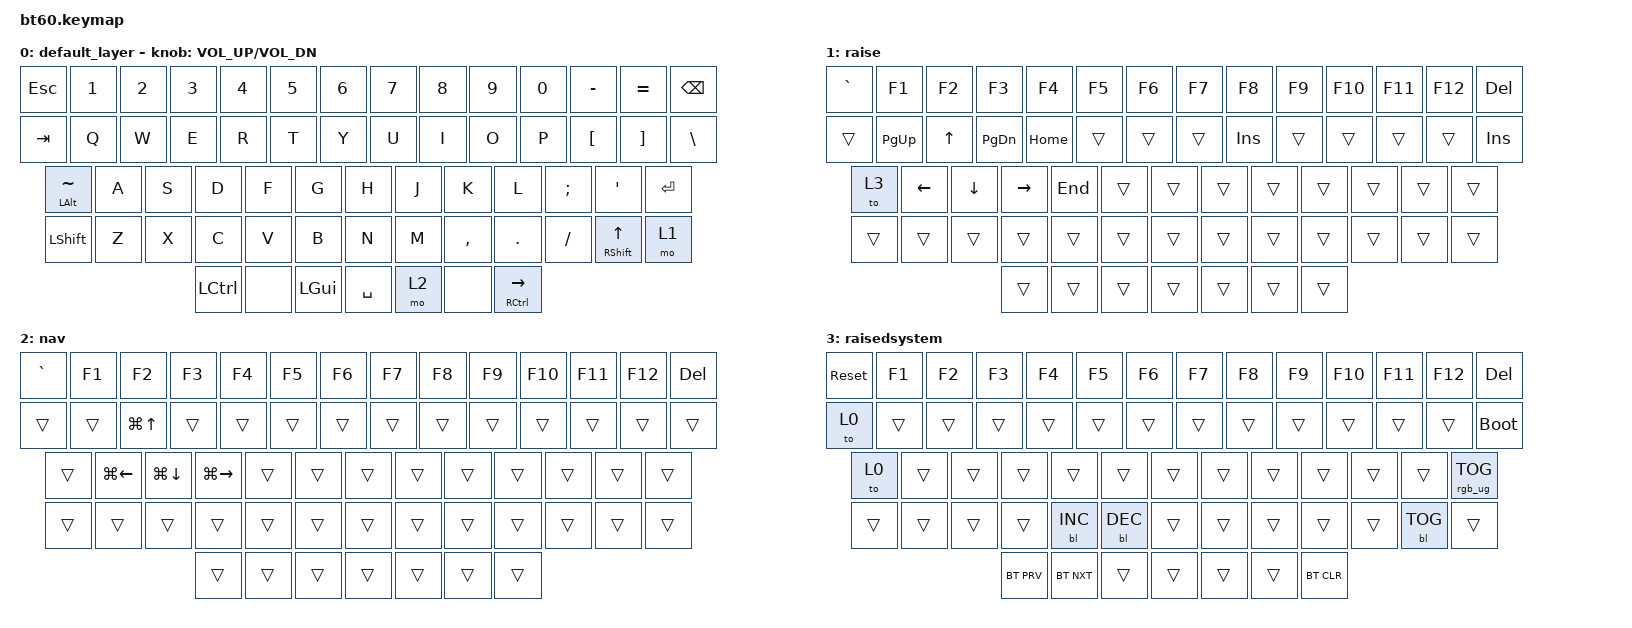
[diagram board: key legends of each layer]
#include <behaviors.dtsi>
#include <dt-bindings/zmk/keys.h>
#include <dt-bindings/zmk/bt.h>
#include <dt-bindings/zmk/rgb.h>
#include <dt-bindings/zmk/backlight.h>


/ {
	keymap {
		compatible = "zmk,keymap";

		default_layer {
			bindings = <

				&kp ESC &kp N1 &kp N2 &kp N3 &kp N4 &kp N5 &kp N6 &kp N7 &kp  N8   &kp  N9 &kp  N0  &kp MINUS &kp EQUAL &kp BSPC
				&kp TAB  &kp Q  &kp W  &kp E  &kp R  &kp T  &kp Y  &kp U  &kp  I    &kp  O  &kp  P   &kp LBKT &kp RBKT   &kp BSLH
				&mt LALT TILDE  &kp A  &kp S  &kp D  &kp F  &kp G  &kp H  &kp J  &kp  K    &kp  L  &kp SEMI &kp SQT            &kp RET
				&kp LSHFT  &kp Z  &kp X  &kp C  &kp V  &kp B  &kp N  &kp M  &kp COMMA &kp DOT &kp FSLH                   &mt RSHFT UP &mo 1
				&kp LCTRL &none &kp LGUI            &kp SPACE                          &mo 2  &none   &mt RCTRL RIGHT
			>;
			sensor-bindings = <&inc_dec_kp C_VOL_UP C_VOL_DN>;
		};
		raise {
			bindings = <
				&kp GRAVE &kp F1 &kp F2 &kp F3 &kp F4 &kp F5 &kp F6 &kp F7 &kp F8 &kp F9 &kp F10 &kp F11 &kp F12 &kp DEL
				&trans &kp PG_UP &kp UP &kp PG_DN &kp HOME &trans &trans &trans &kp INS &trans &trans &trans &trans &kp INS
				&to 3    &kp LEFT &kp DOWN &kp RIGHT &kp END &trans &trans &trans &trans &trans &trans  &trans   &trans
				&trans &trans &trans &trans &trans &trans &trans &trans &trans &trans &trans  &trans &trans
				&trans &trans  &trans              &trans                            &trans   &trans &trans
			>;
		};
		nav {
			bindings = <
				&kp GRAVE &kp F1 &kp F2 &kp F3 &kp F4 &kp F5 &kp F6 &kp F7 &kp F8 &kp F9 &kp F10 &kp F11 &kp F12 &kp DEL
				&trans &trans &kp LG(UP) &trans &trans &trans &trans &trans &trans &trans &trans &trans &trans &trans
				&trans    &kp LG(LEFT) &kp LG(DOWN) &kp LG(RIGHT) &trans &trans &trans &trans &trans &trans &trans  &trans   &trans
				&trans &trans &trans &trans &trans &trans &trans &trans &trans &trans &trans  &trans &trans
				&trans &trans  &trans              &trans                            &trans   &trans &trans
			>;
		};
		raisedsystem {
			bindings = <
				&sys_reset &kp F1 &kp F2 &kp F3 &kp F4 &kp F5 &kp F6 &kp F7 &kp F8 &kp F9 &kp F10 &kp F11 &kp F12 &kp DEL
				&to 0 &trans &trans &trans &trans &trans &trans &trans &trans &trans &trans  &trans  &trans &bootloader
				&to 0   &trans  &trans  &trans &trans &trans &trans &trans &trans &trans  &trans   &trans   &rgb_ug RGB_TOG
				 &trans  &trans  &trans &trans &bl BL_INC &bl BL_DEC &trans &trans &trans  &trans  &trans  &bl BL_TOG &trans
				&bt BT_PRV &bt BT_NXT  &trans              &trans                            &trans   &trans &bt BT_CLR
			>;
		};
	};
};
